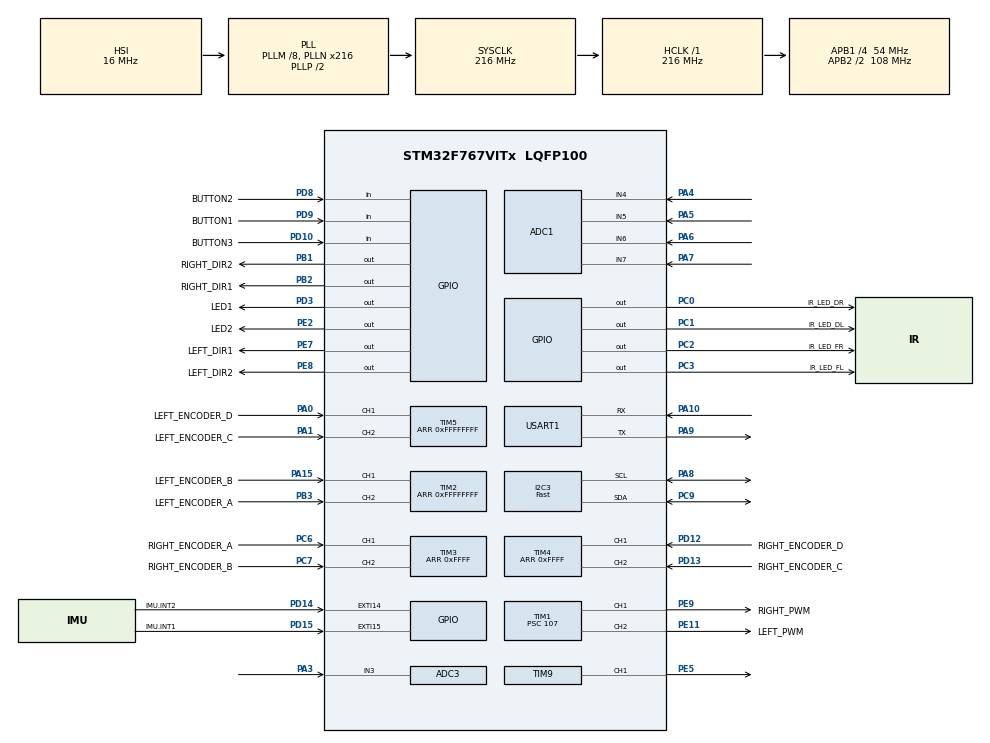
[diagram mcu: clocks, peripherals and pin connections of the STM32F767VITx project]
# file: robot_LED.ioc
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ADC1.Channel-0\#ChannelRegularConversion=ADC_CHANNEL_4
ADC1.NbrOfConversion=1
ADC1.NbrOfConversionFlag=1
ADC1.Rank-0\#ChannelRegularConversion=1
ADC1.SamplingTime-0\#ChannelRegularConversion=ADC_SAMPLETIME_480CYCLES
ADC1.ScanConvMode=DISABLE
ADC1.master=1
ADC3.Channel-0\#ChannelRegularConversion=ADC_CHANNEL_3
ADC3.Channel-1\#ChannelRegularConversion=ADC_CHANNEL_3
ADC3.ContinuousConvMode=ENABLE
ADC3.DMAContinuousRequests=ENABLE
ADC3.InjNumberOfConversion=0
ADC3.NbrOfConversion=2
ADC3.NbrOfConversionFlag=1
ADC3.Rank-0\#ChannelRegularConversion=1
ADC3.Rank-1\#ChannelRegularConversion=2
ADC3.SamplingTime-0\#ChannelRegularConversion=ADC_SAMPLETIME_480CYCLES
ADC3.SamplingTime-1\#ChannelRegularConversion=ADC_SAMPLETIME_480CYCLES
ADC3.ScanConvMode=ENABLE
Dma.ADC3.2.Direction=DMA_PERIPH_TO_MEMORY
Dma.ADC3.2.FIFOMode=DMA_FIFOMODE_DISABLE
Dma.ADC3.2.Instance=DMA2_Stream0
Dma.ADC3.2.MemDataAlignment=DMA_MDATAALIGN_HALFWORD
Dma.ADC3.2.MemInc=DMA_MINC_ENABLE
Dma.ADC3.2.Mode=DMA_CIRCULAR
Dma.ADC3.2.PeriphDataAlignment=DMA_PDATAALIGN_HALFWORD
Dma.ADC3.2.PeriphInc=DMA_PINC_DISABLE
Dma.ADC3.2.Priority=DMA_PRIORITY_LOW
Dma.Request0=USART1_RX
Dma.Request1=USART1_TX
Dma.Request2=ADC3
Dma.USART1_RX.0.Direction=DMA_PERIPH_TO_MEMORY
Dma.USART1_RX.0.FIFOMode=DMA_FIFOMODE_DISABLE
Dma.USART1_RX.0.Instance=DMA2_Stream2
Dma.USART1_RX.0.MemDataAlignment=DMA_MDATAALIGN_BYTE
Dma.USART1_RX.0.MemInc=DMA_MINC_ENABLE
Dma.USART1_RX.0.Mode=DMA_NORMAL
Dma.USART1_RX.0.PeriphDataAlignment=DMA_PDATAALIGN_BYTE
Dma.USART1_RX.0.PeriphInc=DMA_PINC_DISABLE
Dma.USART1_RX.0.Priority=DMA_PRIORITY_LOW
Dma.USART1_TX.1.Direction=DMA_MEMORY_TO_PERIPH
Dma.USART1_TX.1.FIFOMode=DMA_FIFOMODE_DISABLE
Dma.USART1_TX.1.Instance=DMA2_Stream7
Dma.USART1_TX.1.MemDataAlignment=DMA_MDATAALIGN_BYTE
Dma.USART1_TX.1.MemInc=DMA_MINC_ENABLE
Dma.USART1_TX.1.Mode=DMA_NORMAL
Dma.USART1_TX.1.PeriphDataAlignment=DMA_PDATAALIGN_BYTE
Dma.USART1_TX.1.PeriphInc=DMA_PINC_DISABLE
Dma.USART1_TX.1.Priority=DMA_PRIORITY_LOW
I2C3.I2C_Speed_Mode=I2C_Fast
I2C3.Timing=0x6000030D
Mcu.Family=STM32F7
Mcu.Name=STM32F767VITx
Mcu.Package=LQFP100
NVIC.ADC_IRQn=true\:0\:0\:false\:false\:true\:true\:true
NVIC.DMA2_Stream0_IRQn=true\:0\:0\:false\:false\:true\:false\:true
NVIC.DMA2_Stream2_IRQn=true\:0\:0\:false\:false\:true\:false\:true
NVIC.DMA2_Stream7_IRQn=true\:0\:0\:false\:false\:true\:false\:true
NVIC.EXTI15_10_IRQn=true\:0\:0\:false\:false\:true\:true\:true
NVIC.PriorityGroup=NVIC_PRIORITYGROUP_4
NVIC.USART1_IRQn=true\:0\:0\:false\:false\:true\:true\:true
PA0/WKUP.GPIO_Label=LEFT_ENCODER_D
PA0/WKUP.Signal=S_TIM5_CH1
PA1.GPIO_Label=LEFT_ENCODER_C
PA1.Signal=S_TIM5_CH2
PA10.Mode=Asynchronous
PA10.Signal=USART1_RX
PA15.GPIO_Label=LEFT_ENCODER_B
PA15.Signal=S_TIM2_CH1_ETR
PA3.Signal=ADCx_IN3
PA4.Signal=ADCx_IN4
PA5.Signal=ADCx_IN5
PA6.Signal=ADCx_IN6
PA7.Signal=ADCx_IN7
PA8.Mode=I2C
PA8.Signal=I2C3_SCL
PA9.Mode=Asynchronous
PA9.Signal=USART1_TX
PB1.GPIO_Label=RIGHT_DIR2
PB1.Signal=GPIO_Output
PB2.GPIO_Label=RIGHT_DIR1
PB2.Signal=GPIO_Output
PB3.GPIO_Label=LEFT_ENCODER_A
PB3.Signal=S_TIM2_CH2
PC0.GPIO_Label=IR_LED_DR
PC0.Signal=GPIO_Output
PC1.GPIO_Label=IR_LED_DL
PC1.Signal=GPIO_Output
PC2.GPIO_Label=IR_LED_FR
PC2.Signal=GPIO_Output
PC3.GPIO_Label=IR_LED_FL
PC3.Signal=GPIO_Output
PC6.GPIO_Label=RIGHT_ENCODER_A
PC6.GPIO_PuPd=GPIO_NOPULL
PC6.Signal=S_TIM3_CH1
PC7.GPIO_Label=RIGHT_ENCODER_B
PC7.GPIO_PuPd=GPIO_NOPULL
PC7.Signal=S_TIM3_CH2
PC9.Mode=I2C
PC9.Signal=I2C3_SDA
PD10.GPIO_Label=BUTTON3
PD10.GPIO_PuPd=GPIO_PULLUP
PD10.Signal=GPIO_Input
PD12.GPIO_Label=RIGHT_ENCODER_D
PD12.Signal=S_TIM4_CH1
PD13.GPIO_Label=RIGHT_ENCODER_C
PD13.Signal=S_TIM4_CH2
PD14.GPIO_Label=IMU.INT2
PD14.Signal=GPXTI14
PD15.GPIO_Label=IMU.INT1
PD15.Signal=GPXTI15
PD3.GPIO_Label=LED1
PD3.GPIO_ModeDefaultOutputPP=GPIO_MODE_OUTPUT_OD
PD3.Signal=GPIO_Output
PD8.GPIO_Label=BUTTON2
PD8.GPIO_PuPd=GPIO_PULLUP
PD8.Signal=GPIO_Input
PD9.GPIO_Label=BUTTON1
PD9.GPIO_PuPd=GPIO_PULLUP
PD9.Signal=GPIO_Input
PE11.GPIO_Label=LEFT_PWM
PE11.Signal=S_TIM1_CH2
PE2.GPIO_Label=LED2
PE2.GPIO_ModeDefaultOutputPP=GPIO_MODE_OUTPUT_OD
PE2.Signal=GPIO_Output
PE5.Signal=S_TIM9_CH1
PE7.GPIO_Label=LEFT_DIR1
PE7.Signal=GPIO_Output
PE8.GPIO_Label=LEFT_DIR2
PE8.Signal=GPIO_Output
PE9.GPIO_Label=RIGHT_PWM
PE9.Signal=S_TIM1_CH1
ProjectManager.HeapSize=0x200
ProjectManager.StackSize=0x400
ProjectManager.TargetToolchain=TrueSTUDIO
RCC.AHBFreq_Value=216000000
RCC.APB1CLKDivider=RCC_HCLK_DIV4
RCC.APB1Freq_Value=54000000
RCC.APB1TimFreq_Value=108000000
RCC.APB2CLKDivider=RCC_HCLK_DIV2
RCC.APB2Freq_Value=108000000
RCC.APB2TimFreq_Value=216000000
RCC.CortexFreq_Value=216000000
RCC.HCLKFreq_Value=216000000
RCC.HSE_VALUE=25000000
RCC.HSI_VALUE=16000000
RCC.LSE_VALUE=32768
RCC.PLLM=8
RCC.PLLN=216
RCC.SYSCLKFreq_VALUE=216000000
RCC.SYSCLKSource=RCC_SYSCLKSOURCE_PLLCLK
RCC.USBFreq_Value=216000000
RCC.VCOOutputFreq_Value=432000000
SH.ADCx_IN3.0=ADC3_IN3,IN3
SH.ADCx_IN4.0=ADC1_IN4,IN4
SH.ADCx_IN5.0=ADC1_IN5,IN5
SH.ADCx_IN6.0=ADC1_IN6,IN6
SH.ADCx_IN7.0=ADC1_IN7,IN7
SH.S_TIM1_CH1.0=TIM1_CH1,PWM Generation1 CH1
SH.S_TIM1_CH2.0=TIM1_CH2,PWM Generation2 CH2
SH.S_TIM2_CH1_ETR.0=TIM2_CH1,Encoder_Interface
SH.S_TIM2_CH2.0=TIM2_CH2,Encoder_Interface
SH.S_TIM3_CH1.0=TIM3_CH1,Encoder_Interface
SH.S_TIM3_CH2.0=TIM3_CH2,Encoder_Interface
SH.S_TIM4_CH1.0=TIM4_CH1,Encoder_Interface
SH.S_TIM4_CH2.0=TIM4_CH2,Encoder_Interface
SH.S_TIM5_CH1.0=TIM5_CH1,Encoder_Interface
SH.S_TIM5_CH2.0=TIM5_CH2,Encoder_Interface
SH.S_TIM9_CH1.0=TIM9_CH1,PWM Generation1 CH1
STMicroelectronics.X-CUBE-AI.3.4.0.ArtificialOoIntelligenceJjXAaCUBEAaAI.cmp_version0=3.4.0
STMicroelectronics.X-CUBE-AI.3.4.0.ArtificialOoIntelligenceJjXAaCUBEAaAI.component0=Artificial Intelligence
STMicroelectronics.X-CUBE-AI.3.4.0.ArtificialOoIntelligenceJjXAaCUBEAaAI.description0=AI Core,Artificial Intelligence for STM32
STMicroelectronics.X-CUBE-AI.3.4.0.ArtificialOoIntelligenceJjXAaCUBEAaAI.diagnostic0=This component should operate correctly.
STMicroelectronics.X-CUBE-AI.3.4.0.ArtificialOoIntelligenceJjXAaCUBEAaAI.documentation0=readme.txt
STMicroelectronics.X-CUBE-AI.3.4.0.ArtificialOoIntelligenceJjXAaCUBEAaAI.group0=Core
STMicroelectronics.X-CUBE-AI.3.4.0.ArtificialOoIntelligenceJjXAaCUBEAaAI.paramName0=XAaCUBEAaAICcArtificialOoIntelligenceJjCore
STMicroelectronics.X-CUBE-AI.3.4.0.ArtificialOoIntelligenceJjXAaCUBEAaAI.sevirity0=none
STMicroelectronics.X-CUBE-AI.3.4.0.ArtificialOoIntelligenceJjXAaCUBEAaAI_bundle=X-CUBE-AI
STMicroelectronics.X-CUBE-AI.3.4.0.ArtificialOoIntelligenceJjXAaCUBEAaAI_class=ArtificialOoIntelligence
STMicroelectronics.X-CUBE-AI.3.4.0.ArtificialOoIntelligenceJjXAaCUBEAaAI_name=X-CUBE-AI
STMicroelectronics.X-CUBE-AI.3.4.0.ArtificialOoIntelligenceJjXAaCUBEAaAI_size=1
STMicroelectronics.X-CUBE-AI.3.4.0.ArtificialOoIntelligenceJjXAaCUBEAaAI_vendor=STMicroelectronics
STMicroelectronics.X-CUBE-AI.3.4.0.ArtificialOoIntelligenceJjXAaCUBEAaAI_version=3.4.0
STMicroelectronics.X-CUBE-AI.3.4.0.ModelActualCompression-1952f4a947a1ec1f8850b1214cc6820a9500fbdb74c614ae5f41f59e5da1608a=0.0
STMicroelectronics.X-CUBE-AI.3.4.0.ModelCompression-1952f4a947a1ec1f8850b1214cc6820a9500fbdb74c614ae5f41f59e5da1608a=0
STMicroelectronics.X-CUBE-AI.3.4.0.ModelFlashOccupation-1952f4a947a1ec1f8850b1214cc6820a9500fbdb74c614ae5f41f59e5da1608a=864
STMicroelectronics.X-CUBE-AI.3.4.0.ModelHashList=1952f4a947a1ec1f8850b1214cc6820a9500fbdb74c614ae5f41f59e5da1608a
STMicroelectronics.X-CUBE-AI.3.4.0.ModelKind-1952f4a947a1ec1f8850b1214cc6820a9500fbdb74c614ae5f41f59e5da1608a=KERAS
STMicroelectronics.X-CUBE-AI.3.4.0.ModelMacc-1952f4a947a1ec1f8850b1214cc6820a9500fbdb74c614ae5f41f59e5da1608a=288
STMicroelectronics.X-CUBE-AI.3.4.0.ModelName-1952f4a947a1ec1f8850b1214cc6820a9500fbdb74c614ae5f41f59e5da1608a=sensor_network
STMicroelectronics.X-CUBE-AI.3.4.0.ModelNameList=sensor_network
STMicroelectronics.X-CUBE-AI.3.4.0.ModelRamOccupation-1952f4a947a1ec1f8850b1214cc6820a9500fbdb74c614ae5f41f59e5da1608a=100
STMicroelectronics.X-CUBE-AI.3.4.0.ModelStructureFile-1952f4a947a1ec1f8850b1214cc6820a9500fbdb74c614ae5f41f59e5da1608a=C\:\\GitHub\\T6_WallSensorAI\\pyNN\\my_model.h5
STMicroelectronics.X-CUBE-AI.3.4.0.ModelType-1952f4a947a1ec1f8850b1214cc6820a9500fbdb74c614ae5f41f59e5da1608a=Saved model
STMicroelectronics.X-CUBE-AI.3.4.0.XAaCUBEAaAICcArtificialOoIntelligenceJjCore=true
STMicroelectronics.X-CUBE-AI.3.4.0_ArtificialOoIntelligenceJjApplication_RteComponentsize=0
STMicroelectronics.X-CUBE-AI.3.4.0_ArtificialOoIntelligenceJjXAaCUBEAaAI_RteComponentsize=0
STMicroelectronics.X-CUBE-AI.3.4.0_MwName0=X-CUBE-AI
STMicroelectronics.X-CUBE-AI.3.4.0_NumberOfMw=1
STMicroelectronics.X-CUBE-AI.3.4.0_description=Artificial Intelligence
STMicroelectronics.X-CUBE-AI.3.4.0_license=SLA0048.txt
STMicroelectronics.X-CUBE-AI.3.4.0_supportedCore=Cortex-M4;Cortex-M7;
TIM1.Channel-PWM\ Generation1\ CH1=TIM_CHANNEL_1
TIM1.Channel-PWM\ Generation2\ CH2=TIM_CHANNEL_2
TIM1.Period=100
TIM1.Prescaler=107
TIM10.Period=0xffff
TIM10.Prescaler=215
TIM2.EncoderMode=TIM_ENCODERMODE_TI12
TIM2.Period=0xFFFFFFFF
TIM3.EncoderMode=TIM_ENCODERMODE_TI12
TIM3.Period=0xFFFF
TIM4.EncoderMode=TIM_ENCODERMODE_TI12
TIM4.Period=0xFFFF
TIM5.EncoderMode=TIM_ENCODERMODE_TI12
TIM5.Period=0xFFFFFFFF
TIM9.Channel-PWM\ Generation1\ CH1=TIM_CHANNEL_1
TIM9.OCPolarity_1=TIM_OCPOLARITY_LOW
TIM9.Period=1000
TIM9.Prescaler=215
USART1.VirtualMode-Asynchronous=VM_ASYNC
VP_CRC_VS_CRC.Mode=CRC_Activate
VP_STMicroelectronics.X-CUBE-AI_VS_ArtificialOoIntelligenceJjXAaCUBEAaAI_3.4.0.Mode=ArtificialOoIntelligenceJjXAaCUBEAaAI
VP_TIM10_VS_ClockSourceINT.Mode=Enable_Timer
VP_TIM1_VS_ClockSourceINT.Mode=Internal
VP_TIM9_VS_ClockSourceINT.Mode=Internal
board=custom

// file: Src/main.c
/* USER CODE BEGIN Header */
/**
  ******************************************************************************
  * @file           : main.c
  * @brief          : Main program body
  ******************************************************************************
  ** This notice applies to any and all portions of this file
  * that are not between comment pairs USER CODE BEGIN and
  * USER CODE END. Other portions of this file, whether
  * inserted by the user or by software development tools
  * are owned by their respective copyright owners.
  *
  * COPYRIGHT(c) 2019 STMicroelectronics
  *
  * Redistribution and use in source and binary forms, with or without modification,
  * are permitted provided that the following conditions are met:
  *   1. Redistributions of source code must retain the above copyright notice,
  *      this list of conditions and the following disclaimer.
  *   2. Redistributions in binary form must reproduce the above copyright notice,
  *      this list of conditions and the following disclaimer in the documentation
  *      and/or other materials provided with the distribution.
  *   3. Neither the name of STMicroelectronics nor the names of its contributors
  *      may be used to endorse or promote products derived from this software
  *      without specific prior written permission.
  *
  * THIS SOFTWARE IS PROVIDED BY THE COPYRIGHT HOLDERS AND CONTRIBUTORS "AS IS"
  * AND ANY EXPRESS OR IMPLIED WARRANTIES, INCLUDING, BUT NOT LIMITED TO, THE
  * IMPLIED WARRANTIES OF MERCHANTABILITY AND FITNESS FOR A PARTICULAR PURPOSE ARE
  * DISCLAIMED. IN NO EVENT SHALL THE COPYRIGHT HOLDER OR CONTRIBUTORS BE LIABLE
  * FOR ANY DIRECT, INDIRECT, INCIDENTAL, SPECIAL, EXEMPLARY, OR CONSEQUENTIAL
  * DAMAGES (INCLUDING, BUT NOT LIMITED TO, PROCUREMENT OF SUBSTITUTE GOODS OR
  * SERVICES; LOSS OF USE, DATA, OR PROFITS; OR BUSINESS INTERRUPTION) HOWEVER
  * CAUSED AND ON ANY THEORY OF LIABILITY, WHETHER IN CONTRACT, STRICT LIABILITY,
  * OR TORT (INCLUDING NEGLIGENCE OR OTHERWISE) ARISING IN ANY WAY OUT OF THE USE
  * OF THIS SOFTWARE, EVEN IF ADVISED OF THE POSSIBILITY OF SUCH DAMAGE.
  *
  ******************************************************************************
  */
/* USER CODE END Header */

#include "main.h"
#include "app_x-cube-ai.h"

/* USER CODE BEGIN Includes */
#include "serial.h"
#include "controller.h"
#include "datalogger.h"
#include "battery.h"
#include "timer_us.h"
#include "imu.h"
#include "timer_us.h"
#include "configuration.h"
#include "robot_math.h"
#include "WallSensor.h"
#include "imu.h"
#include "motor.h"
#include "encoder.h"

#include "ann.h"
#include "weights.h"

/* USER CODE END Includes */

ADC_HandleTypeDef hadc1;
ADC_HandleTypeDef hadc3;
DMA_HandleTypeDef hdma_adc3;

CRC_HandleTypeDef hcrc;

I2C_HandleTypeDef hi2c3;

TIM_HandleTypeDef htim1;
TIM_HandleTypeDef htim2;
TIM_HandleTypeDef htim3;
TIM_HandleTypeDef htim4;
TIM_HandleTypeDef htim5;
TIM_HandleTypeDef htim9;
TIM_HandleTypeDef htim10;

UART_HandleTypeDef huart1;
DMA_HandleTypeDef hdma_usart1_rx;
DMA_HandleTypeDef hdma_usart1_tx;

/* USER CODE BEGIN PV */
/* Private variables ---------------------------------------------------------*/
HAL_Serial_Handler com;
ai_handle sensor_ann = AI_HANDLE_NULL;

/* USER CODE END PV */

void SystemClock_Config(void);
static void MX_GPIO_Init(void);
static void MX_DMA_Init(void);
static void MX_TIM1_Init(void);
static void MX_TIM4_Init(void);
static void MX_TIM3_Init(void);
static void MX_TIM2_Init(void);
static void MX_TIM5_Init(void);
static void MX_ADC1_Init(void);
static void MX_USART1_UART_Init(void);
static void MX_TIM9_Init(void);
static void MX_ADC3_Init(void);
static void MX_I2C3_Init(void);
static void MX_TIM10_Init(void);
static void MX_CRC_Init(void);
/* USER CODE BEGIN PFP */
/* Private function prototypes -----------------------------------------------*/

/* USER CODE END PFP */

int main(void)
{

  /* MCU Configuration--------------------------------------------------------*/

  /* Reset of all peripherals, Initializes the Flash interface and the Systick. */
  HAL_Init();

  /* Configure the system clock */
  SystemClock_Config();

  /* Initialize all configured peripherals */
  MX_GPIO_Init();
  MX_DMA_Init();
  MX_TIM1_Init();
  MX_TIM4_Init();
  MX_TIM3_Init();
  MX_TIM2_Init();
  MX_TIM5_Init();
  MX_ADC1_Init();
  MX_USART1_UART_Init();
  MX_TIM9_Init();
  MX_ADC3_Init();
  MX_I2C3_Init();
  MX_TIM10_Init();
  MX_CRC_Init();
  MX_X_CUBE_AI_Init();
  /* USER CODE BEGIN 2 */

	// turn OFF LEDs
	HAL_GPIO_WritePin(IR_LED_FL_GPIO_Port,IR_LED_FL_Pin,GPIO_PIN_RESET); // LED IR FRONT LEFT OFF
	HAL_GPIO_WritePin(IR_LED_FR_GPIO_Port,IR_LED_FR_Pin,GPIO_PIN_RESET); // LED IR FRONT RIGHT OFF
	HAL_GPIO_WritePin(IR_LED_DL_GPIO_Port,IR_LED_DL_Pin,GPIO_PIN_RESET); // LED IR DIAGONAL LEFT OFF
	HAL_GPIO_WritePin(IR_LED_DR_GPIO_Port,IR_LED_DR_Pin,GPIO_PIN_RESET); // LED IR DIAGONAL RIGHT OFF
	HAL_GPIO_WritePin(LED1_GPIO_Port,LED1_Pin,GPIO_PIN_RESET); // LED RIGHT ON
	HAL_GPIO_WritePin(LED2_GPIO_Port,LED2_Pin,GPIO_PIN_RESET); // LED LEFT ON

	HAL_Battery_Init();

	HAL_Serial_Init(&huart1, &com);
	HAL_Serial_Print(&com,"Hello World (v%d.%d.%d)\r\n",0,0,0);

	// init
	//configuration_init();
	//configuration_load();
	timer_us_init();
	uint32_t controller_init_result = controller_init();

	ai_error err = ai_mnetwork_create("sensor_network",&sensor_ann,NULL);
	if(err.type != AI_ERROR_NONE)
	{
		HAL_Serial_Print(&com,"AI ERROR %d %d\r\n",err.type,err.code);
	}
	else
	{
		HAL_Serial_Print(&com,"ai_mnetwork_create(sensor_network) [PASS]\r\n",err.type,err.code);
	}
	AI_ALIGNED(4)
	static ai_u8 activations[AI_SENSOR_NETWORK_DATA_ACTIVATIONS_SIZE];
	const ai_network_params params = {
			AI_SENSOR_NETWORK_DATA_WEIGHTS(ai_sensor_network_data_weights_get()),
			AI_SENSOR_NETWORK_DATA_ACTIVATIONS(activations)
	};
	if(!ai_mnetwork_init(sensor_ann,&params))
	{
		err = ai_mnetwork_get_error(&sensor_ann);
		HAL_Serial_Print(&com,"AI ERRPR %d %d\r\n",err.type,err.code);
	}
	else
	{
		HAL_Serial_Print(&com,"ai_mnetwork_init(sensor_network) [PASS]\r\n",err.type,err.code);
	}
  /* USER CODE END 2 */

  /* Infinite loop */
  /* USER CODE BEGIN WHILE */
  enum state {IDLE, WARMUP, RUNNING, FINISH, UPLOAD, FAILSAFE, CALIBRATION};
  enum state current_state = IDLE;
  uint32_t tim_start = 0;
  HAL_Delay(1000);
  while (1)
  {
    /* USER CODE END WHILE */

  MX_X_CUBE_AI_Process();
    /* USER CODE BEGIN 3 */

	  switch(current_state)
	  {
	  case IDLE :
	  {
		motor_speed_left(0);
		motor_speed_right(0);

		gyro_auto_calibrate();
		if(gyro_is_calibrated())
		{
			HAL_GPIO_WritePin(LED1_GPIO_Port,LED1_Pin,GPIO_PIN_SET); // LED RIGHT Off
			HAL_GPIO_WritePin(LED2_GPIO_Port,LED2_Pin,GPIO_PIN_SET); // LED LEFT Off
		}
		else
		{
			HAL_GPIO_WritePin(LED1_GPIO_Port,LED1_Pin,GPIO_PIN_RESET); // LED RIGHT ON
			HAL_GPIO_WritePin(LED2_GPIO_Port,LED2_Pin,GPIO_PIN_RESET); // LED LEFT ON
		}
#ifdef TIMER_US_TRACE
		  HAL_Serial_Print(&com,"time:%dus\r\n",timer_us_get());
		  HAL_Delay(10);
#endif
#ifdef VOLTAGE_TRACE
		  HAL_Serial_Print(&com,"voltage=%d mV\r\n",(int)(HAL_Battery_Get(0)*1000.0f));
		  HAL_Delay(1000);
#endif
#ifdef ENCODER_TRACE
	{
		static uint32_t time = 0;
		if( HAL_GetTick() >= time + 500)
		{
			encoder_update();
			time = HAL_GetTick(); // update time
			HAL_Serial_Print(&com,"%d\r\n",
					(int32_t)(encoder_get_absolute()*1000.0)
				);
			HAL_Delay(10);
		}
	}
#endif
#ifdef RAW_IR_TRACE
	{
		static uint32_t time = 0;
		if( HAL_GetTick() >= time + 200)
		{
			time = HAL_GetTick(); // update time
			wall_sensor_update();
			HAL_Serial_Print(&com,"%d %d %d %d\r\n",
				  wall_sensor_get_raw(WALL_SENSOR_LEFT_DIAG),
				  wall_sensor_get_raw(WALL_SENSOR_LEFT_STRAIGHT),
				  wall_sensor_get_raw(WALL_SENSOR_RIGHT_STRAIGHT),
				  wall_sensor_get_raw(WALL_SENSOR_RIGHT_DIAG)
				  );
			HAL_Delay(10);
			/// TEST ANN HERE : TO BE DELETED
			/// TEST ANN HERE : TO BE DELETED
			/// TEST ANN HERE : TO BE DELETED
			uint16_t start_us = timer_us_get();
//			double inputs[4] = {
//					wall_sensor_get_raw(WALL_SENSOR_LEFT_DIAG),
//					wall_sensor_get_raw(WALL_SENSOR_LEFT_STRAIGHT),
//					 wall_sensor_get_raw(WALL_SENSOR_RIGHT_STRAIGHT),
//					 wall_sensor_get_raw(WALL_SENSOR_RIGHT_DIAG)
//			};
//			double outputs[8];
//			ann_forward_propagation(outputs,inputs,weights);
			ai_float inputs[AI_SENSOR_NETWORK_IN_1_SIZE] = {
										wall_sensor_get_raw(WALL_SENSOR_LEFT_DIAG)/4096.0,
										wall_sensor_get_raw(WALL_SENSOR_LEFT_STRAIGHT)/4096.0,
										 wall_sensor_get_raw(WALL_SENSOR_RIGHT_STRAIGHT)/4096.0,
										 wall_sensor_get_raw(WALL_SENSOR_RIGHT_DIAG)/4096.0
								};
			ai_float outputs[AI_SENSOR_NETWORK_OUT_1_SIZE];
			static ai_buffer ai_input[AI_SENSOR_NETWORK_IN_NUM] = { AI_SENSOR_NETWORK_IN_1 };
			static ai_buffer ai_output[AI_SENSOR_NETWORK_OUT_NUM] = { AI_SENSOR_NETWORK_OUT_1 };
			ai_input[0].n_batches = 1;
			ai_output[0].n_batches = 1;
			ai_input[0].data = AI_HANDLE_PTR(inputs);
			ai_output[0].data = AI_HANDLE_PTR(outputs);
			ai_i32 nbatch = ai_mnetwork_run(sensor_ann, ai_input, ai_output);
			uint16_t end_us = timer_us_get();
			uint16_t diff_us = end_us-start_us;
//			char * const class_name[8] = {
//			    "NONE",
//			    "LW",
//			    "FW",
//			    "RW",
//			    "FW+RW",
//			    "FW+LW",
//			    "LW+RW",
//			    "ALL"
//			};
			HAL_Serial_Print(&com,"    NoW:%d%%  LW:%d%%  FW:%d%%  RW:%d%%  FW+RW:%d%%  FW+LW:%d%%  RW+LW:%d%%  AllW:%d%% in %d us (batch:%d)\r\n",
					(int32_t)(outputs[0]*100.0),
					(int32_t)(outputs[1]*100.0),
					(int32_t)(outputs[2]*100.0),
					(int32_t)(outputs[3]*100.0),
					(int32_t)(outputs[4]*100.0),
					(int32_t)(outputs[5]*100.0),
					(int32_t)(outputs[6]*100.0),
					(int32_t)(outputs[7]*100.0),
					(int32_t)diff_us,
					(int32_t)nbatch
				  );

			/// TEST ANN HERE : TO BE DELETED
			/// TEST ANN HERE : TO BE DELETED
			/// TEST ANN HERE : TO BE DELETED

			HAL_Delay(10);
		}

	}
#endif
#ifdef CALIBRATED_IR_TRACE
		  {
			  static uint32_t time = 0;
			  if( HAL_GetTick() >= time + 200) // every 0.1 sec
			  {
				  time = HAL_GetTick(); // update time
				  wall_sensor_update();
				  HAL_Serial_Print(&com,"%d %d %d %d    %d %d %d\r\n",
						  (int)wall_sensor_get_dist(WALL_SENSOR_LEFT_DIAG),
						  (int)wall_sensor_get_dist(WALL_SENSOR_LEFT_STRAIGHT),
						  (int)wall_sensor_get_dist(WALL_SENSOR_RIGHT_STRAIGHT),
						  (int)wall_sensor_get_dist(WALL_SENSOR_RIGHT_DIAG),
						  (int)wall_sensor_is_left_wall_detected(),
						  (int)wall_sensor_is_front_wall_detected(),
						  (int)wall_sensor_is_right_wall_detected()
						  );
				  HAL_Delay(10);
			  }

		  }
#endif
#ifdef WALL_FOLLOWING_TRACE
		  {
			  static uint32_t time = 0;
			  if( HAL_GetTick() >= time + 500) // every 0.1 sec
			  {
				  time = HAL_GetTick(); // update time
				  wall_sensor_update();
				HAL_Serial_Print(&com,"%d\r\n",	  (int)wall_sensor_get_side_error());
			  }
		  }
#endif

#ifdef READ_SERIAL_LINK
		  // decode CLI
		  while(HAL_Serial_Available(&com)>0)
		  {
			  configuration_parse_cli(HAL_Serial_GetChar(&com));
		  }
#endif // READ_SERIAL_LINK

		  if(controller_init_result != 0) // check controller::gyro
		  {
			  HAL_GPIO_WritePin(LED1_GPIO_Port,LED1_Pin,GPIO_PIN_RESET); // droite ON
			  HAL_GPIO_WritePin(LED2_GPIO_Port,LED2_Pin,GPIO_PIN_RESET); // gauche ON

			  HAL_Serial_Print(&com,"IDLE->FAILSAFE, gyro error\r\n");

			  current_state = FAILSAFE;
		  }
		  else if(HAL_Battery_Is_Low(VBATT)) // check battery charge
		  {
			  HAL_GPIO_WritePin(LED1_GPIO_Port,LED1_Pin,GPIO_PIN_RESET); // droite On
			  HAL_GPIO_WritePin(LED2_GPIO_Port,LED2_Pin,GPIO_PIN_RESET); // gauche On

			  HAL_Serial_Print(&com,"IDLE->FAILSAFE, low battery\r\n");

			  current_state = FAILSAFE;
		  }
		  else if(HAL_GPIO_ReadPin(BUTTON3_GPIO_Port,BUTTON3_Pin)==GPIO_PIN_RESET && gyro_is_calibrated()) // run rigth
		  {
			  HAL_GPIO_WritePin(LED1_GPIO_Port,LED1_Pin,GPIO_PIN_RESET); // droite ON
			  HAL_GPIO_WritePin(LED2_GPIO_Port,LED2_Pin,GPIO_PIN_RESET); // gauche ON

			  HAL_Serial_Print(&com,"IDLE->WARMUP [algo set to right hand]\r\n");
			  maze_ctx_set_alfo_to_right_hand();

			  current_state = WARMUP;
			  tim_start=HAL_GetTick();
		  }
		  else if(HAL_GPIO_ReadPin(BUTTON2_GPIO_Port,BUTTON2_Pin)==GPIO_PIN_RESET) // upload data logger
		  {
			  HAL_GPIO_WritePin(LED1_GPIO_Port,LED1_Pin,GPIO_PIN_RESET); // droite ON
			  HAL_GPIO_WritePin(LED2_GPIO_Port,LED2_Pin,GPIO_PIN_RESET); // gauche ON

			  HAL_Serial_Print(&com,"IDLE->UPLOAD\r\n");
			  current_state = UPLOAD;
		  }
		  else if (HAL_GPIO_ReadPin(BUTTON1_GPIO_Port,BUTTON1_Pin)==GPIO_PIN_RESET && gyro_is_calibrated()) // run left
		  {
			  HAL_GPIO_WritePin(LED1_GPIO_Port,LED1_Pin,GPIO_PIN_RESET); // droite ON
			  HAL_GPIO_WritePin(LED2_GPIO_Port,LED2_Pin,GPIO_PIN_RESET); // gauche ON

			  HAL_Serial_Print(&com,"IDLE->WARMUP [algo set to left hand]\r\n");
			  maze_ctx_set_alfo_to_left_hand();

			  current_state = WARMUP;
			  tim_start=HAL_GetTick();
		  }
	  }
	  break;

	  case WARMUP :
	  {
			motor_speed_left(0);
			motor_speed_right(0);

		  // wait for 1.0s before running
		  if (tim_start + 1000 < HAL_GetTick() )
		  {

			  if(HAL_GPIO_ReadPin(BUTTON3_GPIO_Port,BUTTON3_Pin)==GPIO_PIN_RESET || HAL_GPIO_ReadPin(BUTTON1_GPIO_Port,BUTTON1_Pin)==GPIO_PIN_RESET) // reset/init
			  {
				  controller_init();
				  current_state = IDLE;
				  HAL_Serial_Print(&com,"->RESET....\r\n");

				  HAL_GPIO_WritePin(LED1_GPIO_Port,LED1_Pin,GPIO_PIN_SET); // droite OFF
				  HAL_GPIO_WritePin(LED2_GPIO_Port,LED2_Pin,GPIO_PIN_SET); // gauche OFF
				  HAL_Delay(500);
				  HAL_GPIO_WritePin(LED1_GPIO_Port,LED1_Pin,GPIO_PIN_RESET); // droite ON
				  HAL_GPIO_WritePin(LED2_GPIO_Port,LED2_Pin,GPIO_PIN_RESET); // gauche ON
				  HAL_Delay(500);
				  HAL_GPIO_WritePin(LED1_GPIO_Port,LED1_Pin,GPIO_PIN_SET); // droite OFF
				  HAL_GPIO_WritePin(LED2_GPIO_Port,LED2_Pin,GPIO_PIN_SET); // gauche OFF
				  HAL_Delay(500);
				  HAL_GPIO_WritePin(LED1_GPIO_Port,LED1_Pin,GPIO_PIN_RESET); // droite ON
				  HAL_GPIO_WritePin(LED2_GPIO_Port,LED2_Pin,GPIO_PIN_RESET); // gauche ON
				  HAL_Delay(500);
				  HAL_GPIO_WritePin(LED1_GPIO_Port,LED1_Pin,GPIO_PIN_SET); // droite OFF
				  HAL_GPIO_WritePin(LED2_GPIO_Port,LED2_Pin,GPIO_PIN_SET); // gauche OFF
				  HAL_Delay(500);
				  HAL_Serial_Print(&com,"->IDLE\r\n");

			  }
			  else
			  {
				  current_state = RUNNING;
				  HAL_Serial_Print(&com,"WARMUP->RUNNING\r\n");
				  controller_start();
			  }
			  HAL_GPIO_WritePin(LED1_GPIO_Port,LED1_Pin,GPIO_PIN_SET); // droite OFF
			  HAL_GPIO_WritePin(LED2_GPIO_Port,LED2_Pin,GPIO_PIN_SET); // gauche OFF
		  }

	  }
	  break;

	  case RUNNING :
	  {
		  controller_update();

		  if(controller_is_end()){
				motor_speed_left(0);
				motor_speed_right(0);
			  current_state = FINISH;
			  HAL_Serial_Print(&com,"RUNNING->FINISH\r\n");
		  }
		  else if(HAL_GPIO_ReadPin(BUTTON3_GPIO_Port,BUTTON3_Pin)==GPIO_PIN_RESET)
		  {
			  controller_stop();

			  current_state = FINISH;
			  HAL_Serial_Print(&com,"RUNNING->FINISH (emergency stop)\r\n");
		  }
	  }
	  break;

	  case FINISH :
	  {
			motor_speed_left(0);
			motor_speed_right(0);

		  HAL_Delay(1000);

		  current_state = IDLE;
		  HAL_Serial_Print(&com,"FINISH->IDLE\r\n");
	  }
	  break;

	  case UPLOAD :
	  {
			motor_speed_left(0);
			motor_speed_right(0);

		  HAL_DataLogger_Send();

		  current_state = IDLE;

		  HAL_GPIO_WritePin(LED1_GPIO_Port,LED1_Pin,GPIO_PIN_SET); // droite Off
		  HAL_GPIO_WritePin(LED2_GPIO_Port,LED2_Pin,GPIO_PIN_SET); // gauche Off

		  HAL_Serial_Print(&com,"UPLOAD->IDLE\r\n");
	  }
	  break;

	  case CALIBRATION :
	  {
			motor_speed_left(0);
			motor_speed_right(0);

		  HAL_Delay(2000); // wait for button release

		  //gyro_calibrate();
		  current_state = IDLE;

		  HAL_GPIO_WritePin(LED1_GPIO_Port,LED1_Pin,GPIO_PIN_SET); // droite Off
		  HAL_GPIO_WritePin(LED2_GPIO_Port,LED2_Pin,GPIO_PIN_SET); // gauche Off

		  HAL_Serial_Print(&com,"CALIBRATION->IDLE\r\n");
	  }
	  break;

	  case FAILSAFE :
	  {
		  // nop
	  }
	  break;

	  }
  }

  /* USER CODE END 3 */
}

void SystemClock_Config(void)
{
  RCC_OscInitTypeDef RCC_OscInitStruct = {0};
  RCC_ClkInitTypeDef RCC_ClkInitStruct = {0};
  RCC_PeriphCLKInitTypeDef PeriphClkInitStruct = {0};

  /** Configure the main internal regulator output voltage
  */
  __HAL_RCC_PWR_CLK_ENABLE();
  __HAL_PWR_VOLTAGESCALING_CONFIG(PWR_REGULATOR_VOLTAGE_SCALE1);
  /** Initializes the CPU, AHB and APB busses clocks
  */
  RCC_OscInitStruct.OscillatorType = RCC_OSCILLATORTYPE_HSI;
  RCC_OscInitStruct.HSIState = RCC_HSI_ON;
  RCC_OscInitStruct.HSICalibrationValue = RCC_HSICALIBRATION_DEFAULT;
  RCC_OscInitStruct.PLL.PLLState = RCC_PLL_ON;
  RCC_OscInitStruct.PLL.PLLSource = RCC_PLLSOURCE_HSI;
  RCC_OscInitStruct.PLL.PLLM = 8;
  RCC_OscInitStruct.PLL.PLLN = 216;
  RCC_OscInitStruct.PLL.PLLP = RCC_PLLP_DIV2;
  RCC_OscInitStruct.PLL.PLLQ = 2;
  if (HAL_RCC_OscConfig(&RCC_OscInitStruct) != HAL_OK)
  {
    Error_Handler();
  }
  /** Activate the Over-Drive mode
  */
  if (HAL_PWREx_EnableOverDrive() != HAL_OK)
  {
    Error_Handler();
  }
  /** Initializes the CPU, AHB and APB busses clocks
  */
  RCC_ClkInitStruct.ClockType = RCC_CLOCKTYPE_HCLK|RCC_CLOCKTYPE_SYSCLK
                              |RCC_CLOCKTYPE_PCLK1|RCC_CLOCKTYPE_PCLK2;
  RCC_ClkInitStruct.SYSCLKSource = RCC_SYSCLKSOURCE_PLLCLK;
  RCC_ClkInitStruct.AHBCLKDivider = RCC_SYSCLK_DIV1;
  RCC_ClkInitStruct.APB1CLKDivider = RCC_HCLK_DIV4;
  RCC_ClkInitStruct.APB2CLKDivider = RCC_HCLK_DIV2;

  if (HAL_RCC_ClockConfig(&RCC_ClkInitStruct, FLASH_LATENCY_7) != HAL_OK)
  {
    Error_Handler();
  }
  PeriphClkInitStruct.PeriphClockSelection = RCC_PERIPHCLK_USART1|RCC_PERIPHCLK_I2C3;
  PeriphClkInitStruct.Usart1ClockSelection = RCC_USART1CLKSOURCE_PCLK2;
  PeriphClkInitStruct.I2c3ClockSelection = RCC_I2C3CLKSOURCE_PCLK1;
  if (HAL_RCCEx_PeriphCLKConfig(&PeriphClkInitStruct) != HAL_OK)
  {
    Error_Handler();
  }
}

static void MX_ADC1_Init(void)
{

  ADC_ChannelConfTypeDef sConfig = {0};

  /** Configure the global features of the ADC (Clock, Resolution, Data Alignment and number of conversion)
  */
  hadc1.Instance = ADC1;
  hadc1.Init.ClockPrescaler = ADC_CLOCK_SYNC_PCLK_DIV4;
  hadc1.Init.Resolution = ADC_RESOLUTION_12B;
  hadc1.Init.ScanConvMode = DISABLE;
  hadc1.Init.ContinuousConvMode = DISABLE;
  hadc1.Init.DiscontinuousConvMode = DISABLE;
  hadc1.Init.ExternalTrigConvEdge = ADC_EXTERNALTRIGCONVEDGE_NONE;
  hadc1.Init.ExternalTrigConv = ADC_SOFTWARE_START;
  hadc1.Init.DataAlign = ADC_DATAALIGN_RIGHT;
  hadc1.Init.NbrOfConversion = 1;
  hadc1.Init.DMAContinuousRequests = DISABLE;
  hadc1.Init.EOCSelection = ADC_EOC_SINGLE_CONV;
  if (HAL_ADC_Init(&hadc1) != HAL_OK)
  {
    Error_Handler();
  }
  /** Configure for the selected ADC regular channel its corresponding rank in the sequencer and its sample time.
  */
  sConfig.Channel = ADC_CHANNEL_4;
  sConfig.Rank = ADC_REGULAR_RANK_1;
  sConfig.SamplingTime = ADC_SAMPLETIME_480CYCLES;
  if (HAL_ADC_ConfigChannel(&hadc1, &sConfig) != HAL_OK)
  {
    Error_Handler();
  }

}

static void MX_ADC3_Init(void)
{

  ADC_ChannelConfTypeDef sConfig = {0};

  /** Configure the global features of the ADC (Clock, Resolution, Data Alignment and number of conversion)
  */
  hadc3.Instance = ADC3;
  hadc3.Init.ClockPrescaler = ADC_CLOCK_SYNC_PCLK_DIV4;
  hadc3.Init.Resolution = ADC_RESOLUTION_12B;
  hadc3.Init.ScanConvMode = ENABLE;
  hadc3.Init.ContinuousConvMode = ENABLE;
  hadc3.Init.DiscontinuousConvMode = DISABLE;
  hadc3.Init.ExternalTrigConvEdge = ADC_EXTERNALTRIGCONVEDGE_NONE;
  hadc3.Init.ExternalTrigConv = ADC_SOFTWARE_START;
  hadc3.Init.DataAlign = ADC_DATAALIGN_RIGHT;
  hadc3.Init.NbrOfConversion = 2;
  hadc3.Init.DMAContinuousRequests = ENABLE;
  hadc3.Init.EOCSelection = ADC_EOC_SINGLE_CONV;
  if (HAL_ADC_Init(&hadc3) != HAL_OK)
  {
    Error_Handler();
  }
  /** Configure for the selected ADC regular channel its corresponding rank in the sequencer and its sample time.
  */
  sConfig.Channel = ADC_CHANNEL_3;
  sConfig.Rank = ADC_REGULAR_RANK_1;
  sConfig.SamplingTime = ADC_SAMPLETIME_480CYCLES;
  if (HAL_ADC_ConfigChannel(&hadc3, &sConfig) != HAL_OK)
  {
    Error_Handler();
  }
  /** Configure for the selected ADC regular channel its corresponding rank in the sequencer and its sample time.
  */
  sConfig.Rank = ADC_REGULAR_RANK_2;
  if (HAL_ADC_ConfigChannel(&hadc3, &sConfig) != HAL_OK)
  {
    Error_Handler();
  }

}

static void MX_CRC_Init(void)
{

  hcrc.Instance = CRC;
  hcrc.Init.DefaultPolynomialUse = DEFAULT_POLYNOMIAL_ENABLE;
  hcrc.Init.DefaultInitValueUse = DEFAULT_INIT_VALUE_ENABLE;
  hcrc.Init.InputDataInversionMode = CRC_INPUTDATA_INVERSION_NONE;
  hcrc.Init.OutputDataInversionMode = CRC_OUTPUTDATA_INVERSION_DISABLE;
  hcrc.InputDataFormat = CRC_INPUTDATA_FORMAT_BYTES;
  if (HAL_CRC_Init(&hcrc) != HAL_OK)
  {
    Error_Handler();
  }

}

static void MX_I2C3_Init(void)
{

  hi2c3.Instance = I2C3;
  hi2c3.Init.Timing = 0x6000030D;
  hi2c3.Init.OwnAddress1 = 0;
  hi2c3.Init.AddressingMode = I2C_ADDRESSINGMODE_7BIT;
  hi2c3.Init.DualAddressMode = I2C_DUALADDRESS_DISABLE;
  hi2c3.Init.OwnAddress2 = 0;
  hi2c3.Init.OwnAddress2Masks = I2C_OA2_NOMASK;
  hi2c3.Init.GeneralCallMode = I2C_GENERALCALL_DISABLE;
  hi2c3.Init.NoStretchMode = I2C_NOSTRETCH_DISABLE;
  if (HAL_I2C_Init(&hi2c3) != HAL_OK)
  {
    Error_Handler();
  }
  /** Configure Analogue filter
  */
  if (HAL_I2CEx_ConfigAnalogFilter(&hi2c3, I2C_ANALOGFILTER_ENABLE) != HAL_OK)
  {
    Error_Handler();
  }
  /** Configure Digital filter
  */
  if (HAL_I2CEx_ConfigDigitalFilter(&hi2c3, 0) != HAL_OK)
  {
    Error_Handler();
  }

}

static void MX_TIM1_Init(void)
{

  TIM_ClockConfigTypeDef sClockSourceConfig = {0};
  TIM_MasterConfigTypeDef sMasterConfig = {0};
  TIM_OC_InitTypeDef sConfigOC = {0};
  TIM_BreakDeadTimeConfigTypeDef sBreakDeadTimeConfig = {0};

  htim1.Instance = TIM1;
  htim1.Init.Prescaler = 107;
  htim1.Init.CounterMode = TIM_COUNTERMODE_UP;
  htim1.Init.Period = 100;
  htim1.Init.ClockDivision = TIM_CLOCKDIVISION_DIV1;
  htim1.Init.RepetitionCounter = 0;
  htim1.Init.AutoReloadPreload = TIM_AUTORELOAD_PRELOAD_DISABLE;
  if (HAL_TIM_Base_Init(&htim1) != HAL_OK)
  {
    Error_Handler();
  }
  sClockSourceConfig.ClockSource = TIM_CLOCKSOURCE_INTERNAL;
  if (HAL_TIM_ConfigClockSource(&htim1, &sClockSourceConfig) != HAL_OK)
  {
    Error_Handler();
  }
  if (HAL_TIM_PWM_Init(&htim1) != HAL_OK)
  {
    Error_Handler();
  }
  sMasterConfig.MasterOutputTrigger = TIM_TRGO_RESET;
  sMasterConfig.MasterOutputTrigger2 = TIM_TRGO2_RESET;
  sMasterConfig.MasterSlaveMode = TIM_MASTERSLAVEMODE_DISABLE;
  if (HAL_TIMEx_MasterConfigSynchronization(&htim1, &sMasterConfig) != HAL_OK)
  {
    Error_Handler();
  }
  sConfigOC.OCMode = TIM_OCMODE_PWM1;
  sConfigOC.Pulse = 0;
  sConfigOC.OCPolarity = TIM_OCPOLARITY_HIGH;
  sConfigOC.OCNPolarity = TIM_OCNPOLARITY_HIGH;
  sConfigOC.OCFastMode = TIM_OCFAST_DISABLE;
  sConfigOC.OCIdleState = TIM_OCIDLESTATE_RESET;
  sConfigOC.OCNIdleState = TIM_OCNIDLESTATE_RESET;
  if (HAL_TIM_PWM_ConfigChannel(&htim1, &sConfigOC, TIM_CHANNEL_1) != HAL_OK)
  {
    Error_Handler();
  }
  if (HAL_TIM_PWM_ConfigChannel(&htim1, &sConfigOC, TIM_CHANNEL_2) != HAL_OK)
  {
    Error_Handler();
  }
  sBreakDeadTimeConfig.OffStateRunMode = TIM_OSSR_DISABLE;
  sBreakDeadTimeConfig.OffStateIDLEMode = TIM_OSSI_DISABLE;
  sBreakDeadTimeConfig.LockLevel = TIM_LOCKLEVEL_OFF;
  sBreakDeadTimeConfig.DeadTime = 0;
  sBreakDeadTimeConfig.BreakState = TIM_BREAK_DISABLE;
  sBreakDeadTimeConfig.BreakPolarity = TIM_BREAKPOLARITY_HIGH;
  sBreakDeadTimeConfig.BreakFilter = 0;
  sBreakDeadTimeConfig.Break2State = TIM_BREAK2_DISABLE;
  sBreakDeadTimeConfig.Break2Polarity = TIM_BREAK2POLARITY_HIGH;
  sBreakDeadTimeConfig.Break2Filter = 0;
  sBreakDeadTimeConfig.AutomaticOutput = TIM_AUTOMATICOUTPUT_DISABLE;
  if (HAL_TIMEx_ConfigBreakDeadTime(&htim1, &sBreakDeadTimeConfig) != HAL_OK)
  {
    Error_Handler();
  }
  HAL_TIM_MspPostInit(&htim1);

}

static void MX_TIM2_Init(void)
{

  TIM_Encoder_InitTypeDef sConfig = {0};
  TIM_MasterConfigTypeDef sMasterConfig = {0};

  htim2.Instance = TIM2;
  htim2.Init.Prescaler = 0;
  htim2.Init.CounterMode = TIM_COUNTERMODE_UP;
  htim2.Init.Period = 0xFFFFFFFF;
  htim2.Init.ClockDivision = TIM_CLOCKDIVISION_DIV1;
  htim2.Init.AutoReloadPreload = TIM_AUTORELOAD_PRELOAD_DISABLE;
  sConfig.EncoderMode = TIM_ENCODERMODE_TI12;
  sConfig.IC1Polarity = TIM_ICPOLARITY_RISING;
  sConfig.IC1Selection = TIM_ICSELECTION_DIRECTTI;
  sConfig.IC1Prescaler = TIM_ICPSC_DIV1;
  sConfig.IC1Filter = 0;
  sConfig.IC2Polarity = TIM_ICPOLARITY_RISING;
  sConfig.IC2Selection = TIM_ICSELECTION_DIRECTTI;
  sConfig.IC2Prescaler = TIM_ICPSC_DIV1;
  sConfig.IC2Filter = 0;
  if (HAL_TIM_Encoder_Init(&htim2, &sConfig) != HAL_OK)
  {
    Error_Handler();
  }
  sMasterConfig.MasterOutputTrigger = TIM_TRGO_RESET;
  sMasterConfig.MasterSlaveMode = TIM_MASTERSLAVEMODE_DISABLE;
  if (HAL_TIMEx_MasterConfigSynchronization(&htim2, &sMasterConfig) != HAL_OK)
  {
    Error_Handler();
  }

}

static void MX_TIM3_Init(void)
{

  TIM_Encoder_InitTypeDef sConfig = {0};
  TIM_MasterConfigTypeDef sMasterConfig = {0};

  htim3.Instance = TIM3;
  htim3.Init.Prescaler = 0;
  htim3.Init.CounterMode = TIM_COUNTERMODE_UP;
  htim3.Init.Period = 0xFFFF;
  htim3.Init.ClockDivision = TIM_CLOCKDIVISION_DIV1;
  htim3.Init.AutoReloadPreload = TIM_AUTORELOAD_PRELOAD_DISABLE;
  sConfig.EncoderMode = TIM_ENCODERMODE_TI12;
  sConfig.IC1Polarity = TIM_ICPOLARITY_RISING;
  sConfig.IC1Selection = TIM_ICSELECTION_DIRECTTI;
  sConfig.IC1Prescaler = TIM_ICPSC_DIV1;
  sConfig.IC1Filter = 0;
  sConfig.IC2Polarity = TIM_ICPOLARITY_RISING;
  sConfig.IC2Selection = TIM_ICSELECTION_DIRECTTI;
  sConfig.IC2Prescaler = TIM_ICPSC_DIV1;
  sConfig.IC2Filter = 0;
  if (HAL_TIM_Encoder_Init(&htim3, &sConfig) != HAL_OK)
  {
    Error_Handler();
  }
  sMasterConfig.MasterOutputTrigger = TIM_TRGO_RESET;
  sMasterConfig.MasterSlaveMode = TIM_MASTERSLAVEMODE_DISABLE;
  if (HAL_TIMEx_MasterConfigSynchronization(&htim3, &sMasterConfig) != HAL_OK)
  {
    Error_Handler();
  }

}

static void MX_TIM4_Init(void)
{

  TIM_Encoder_InitTypeDef sConfig = {0};
  TIM_MasterConfigTypeDef sMasterConfig = {0};

  htim4.Instance = TIM4;
  htim4.Init.Prescaler = 0;
  htim4.Init.CounterMode = TIM_COUNTERMODE_UP;
  htim4.Init.Period = 0xFFFF;
  htim4.Init.ClockDivision = TIM_CLOCKDIVISION_DIV1;
  htim4.Init.AutoReloadPreload = TIM_AUTORELOAD_PRELOAD_DISABLE;
  sConfig.EncoderMode = TIM_ENCODERMODE_TI12;
  sConfig.IC1Polarity = TIM_ICPOLARITY_RISING;
  sConfig.IC1Selection = TIM_ICSELECTION_DIRECTTI;
  sConfig.IC1Prescaler = TIM_ICPSC_DIV1;
  sConfig.IC1Filter = 0;
  sConfig.IC2Polarity = TIM_ICPOLARITY_RISING;
  sConfig.IC2Selection = TIM_ICSELECTION_DIRECTTI;
  sConfig.IC2Prescaler = TIM_ICPSC_DIV1;
  sConfig.IC2Filter = 0;
  if (HAL_TIM_Encoder_Init(&htim4, &sConfig) != HAL_OK)
  {
    Error_Handler();
  }
  sMasterConfig.MasterOutputTrigger = TIM_TRGO_RESET;
  sMasterConfig.MasterSlaveMode = TIM_MASTERSLAVEMODE_DISABLE;
  if (HAL_TIMEx_MasterConfigSynchronization(&htim4, &sMasterConfig) != HAL_OK)
  {
    Error_Handler();
  }

}

static void MX_TIM5_Init(void)
{

  TIM_Encoder_InitTypeDef sConfig = {0};
  TIM_MasterConfigTypeDef sMasterConfig = {0};

  htim5.Instance = TIM5;
  htim5.Init.Prescaler = 0;
  htim5.Init.CounterMode = TIM_COUNTERMODE_UP;
  htim5.Init.Period = 0xFFFFFFFF;
  htim5.Init.ClockDivision = TIM_CLOCKDIVISION_DIV1;
  htim5.Init.AutoReloadPreload = TIM_AUTORELOAD_PRELOAD_DISABLE;
  sConfig.EncoderMode = TIM_ENCODERMODE_TI12;
  sConfig.IC1Polarity = TIM_ICPOLARITY_RISING;
  sConfig.IC1Selection = TIM_ICSELECTION_DIRECTTI;
  sConfig.IC1Prescaler = TIM_ICPSC_DIV1;
  sConfig.IC1Filter = 0;
  sConfig.IC2Polarity = TIM_ICPOLARITY_RISING;
  sConfig.IC2Selection = TIM_ICSELECTION_DIRECTTI;
  sConfig.IC2Prescaler = TIM_ICPSC_DIV1;
  sConfig.IC2Filter = 0;
  if (HAL_TIM_Encoder_Init(&htim5, &sConfig) != HAL_OK)
  {
    Error_Handler();
  }
  sMasterConfig.MasterOutputTrigger = TIM_TRGO_RESET;
  sMasterConfig.MasterSlaveMode = TIM_MASTERSLAVEMODE_DISABLE;
  if (HAL_TIMEx_MasterConfigSynchronization(&htim5, &sMasterConfig) != HAL_OK)
  {
    Error_Handler();
  }

}

static void MX_TIM9_Init(void)
{

  TIM_ClockConfigTypeDef sClockSourceConfig = {0};
  TIM_OC_InitTypeDef sConfigOC = {0};

  htim9.Instance = TIM9;
  htim9.Init.Prescaler = 215;
  htim9.Init.CounterMode = TIM_COUNTERMODE_UP;
  htim9.Init.Period = 1000;
  htim9.Init.ClockDivision = TIM_CLOCKDIVISION_DIV1;
  htim9.Init.AutoReloadPreload = TIM_AUTORELOAD_PRELOAD_DISABLE;
  if (HAL_TIM_Base_Init(&htim9) != HAL_OK)
  {
    Error_Handler();
  }
  sClockSourceConfig.ClockSource = TIM_CLOCKSOURCE_INTERNAL;
  if (HAL_TIM_ConfigClockSource(&htim9, &sClockSourceConfig) != HAL_OK)
  {
    Error_Handler();
  }
  if (HAL_TIM_PWM_Init(&htim9) != HAL_OK)
  {
    Error_Handler();
  }
  sConfigOC.OCMode = TIM_OCMODE_PWM1;
  sConfigOC.Pulse = 0;
  sConfigOC.OCPolarity = TIM_OCPOLARITY_LOW;
  sConfigOC.OCFastMode = TIM_OCFAST_DISABLE;
  if (HAL_TIM_PWM_ConfigChannel(&htim9, &sConfigOC, TIM_CHANNEL_1) != HAL_OK)
  {
    Error_Handler();
  }
  HAL_TIM_MspPostInit(&htim9);

}

static void MX_TIM10_Init(void)
{

  htim10.Instance = TIM10;
  htim10.Init.Prescaler = 215;
  htim10.Init.CounterMode = TIM_COUNTERMODE_UP;
  htim10.Init.Period = 0xffff;
  htim10.Init.ClockDivision = TIM_CLOCKDIVISION_DIV1;
  htim10.Init.AutoReloadPreload = TIM_AUTORELOAD_PRELOAD_DISABLE;
  if (HAL_TIM_Base_Init(&htim10) != HAL_OK)
  {
    Error_Handler();
  }

}

static void MX_USART1_UART_Init(void)
{

  huart1.Instance = USART1;
  huart1.Init.BaudRate = 115200;
  huart1.Init.WordLength = UART_WORDLENGTH_8B;
  huart1.Init.StopBits = UART_STOPBITS_1;
  huart1.Init.Parity = UART_PARITY_NONE;
  huart1.Init.Mode = UART_MODE_TX_RX;
  huart1.Init.HwFlowCtl = UART_HWCONTROL_NONE;
  huart1.Init.OverSampling = UART_OVERSAMPLING_16;
  huart1.Init.OneBitSampling = UART_ONE_BIT_SAMPLE_DISABLE;
  huart1.AdvancedInit.AdvFeatureInit = UART_ADVFEATURE_NO_INIT;
  if (HAL_UART_Init(&huart1) != HAL_OK)
  {
    Error_Handler();
  }

}

static void MX_DMA_Init(void)
{
  /* DMA controller clock enable */
  __HAL_RCC_DMA2_CLK_ENABLE();

  /* DMA interrupt init */
  /* DMA2_Stream0_IRQn interrupt configuration */
  HAL_NVIC_SetPriority(DMA2_Stream0_IRQn, 0, 0);
  HAL_NVIC_EnableIRQ(DMA2_Stream0_IRQn);
  /* DMA2_Stream2_IRQn interrupt configuration */
  HAL_NVIC_SetPriority(DMA2_Stream2_IRQn, 0, 0);
  HAL_NVIC_EnableIRQ(DMA2_Stream2_IRQn);
  /* DMA2_Stream7_IRQn interrupt configuration */
  HAL_NVIC_SetPriority(DMA2_Stream7_IRQn, 0, 0);
  HAL_NVIC_EnableIRQ(DMA2_Stream7_IRQn);

}

static void MX_GPIO_Init(void)
{
  GPIO_InitTypeDef GPIO_InitStruct = {0};

  /* GPIO Ports Clock Enable */
  __HAL_RCC_GPIOE_CLK_ENABLE();
  __HAL_RCC_GPIOC_CLK_ENABLE();
  __HAL_RCC_GPIOA_CLK_ENABLE();
  __HAL_RCC_GPIOB_CLK_ENABLE();
  __HAL_RCC_GPIOD_CLK_ENABLE();

  /*Configure GPIO pin Output Level */
  HAL_GPIO_WritePin(GPIOE, LED2_Pin|LEFT_DIR1_Pin|LEFT_DIR2_Pin, GPIO_PIN_RESET);

  /*Configure GPIO pin Output Level */
  HAL_GPIO_WritePin(GPIOC, IR_LED_DR_Pin|IR_LED_DL_Pin|IR_LED_FR_Pin|IR_LED_FL_Pin, GPIO_PIN_RESET);

  /*Configure GPIO pin Output Level */
  HAL_GPIO_WritePin(GPIOB, RIGHT_DIR2_Pin|RIGHT_DIR1_Pin, GPIO_PIN_RESET);

  /*Configure GPIO pin Output Level */
  HAL_GPIO_WritePin(LED1_GPIO_Port, LED1_Pin, GPIO_PIN_RESET);

  /*Configure GPIO pin : LED2_Pin */
  GPIO_InitStruct.Pin = LED2_Pin;
  GPIO_InitStruct.Mode = GPIO_MODE_OUTPUT_OD;
  GPIO_InitStruct.Pull = GPIO_NOPULL;
  GPIO_InitStruct.Speed = GPIO_SPEED_FREQ_LOW;
  HAL_GPIO_Init(LED2_GPIO_Port, &GPIO_InitStruct);

  /*Configure GPIO pins : IR_LED_DR_Pin IR_LED_DL_Pin IR_LED_FR_Pin IR_LED_FL_Pin */
  GPIO_InitStruct.Pin = IR_LED_DR_Pin|IR_LED_DL_Pin|IR_LED_FR_Pin|IR_LED_FL_Pin;
  GPIO_InitStruct.Mode = GPIO_MODE_OUTPUT_PP;
  GPIO_InitStruct.Pull = GPIO_NOPULL;
  GPIO_InitStruct.Speed = GPIO_SPEED_FREQ_LOW;
  HAL_GPIO_Init(GPIOC, &GPIO_InitStruct);

  /*Configure GPIO pins : RIGHT_DIR2_Pin RIGHT_DIR1_Pin */
  GPIO_InitStruct.Pin = RIGHT_DIR2_Pin|RIGHT_DIR1_Pin;
  GPIO_InitStruct.Mode = GPIO_MODE_OUTPUT_PP;
  GPIO_InitStruct.Pull = GPIO_NOPULL;
  GPIO_InitStruct.Speed = GPIO_SPEED_FREQ_LOW;
  HAL_GPIO_Init(GPIOB, &GPIO_InitStruct);

  /*Configure GPIO pins : LEFT_DIR1_Pin LEFT_DIR2_Pin */
  GPIO_InitStruct.Pin = LEFT_DIR1_Pin|LEFT_DIR2_Pin;
  GPIO_InitStruct.Mode = GPIO_MODE_OUTPUT_PP;
  GPIO_InitStruct.Pull = GPIO_NOPULL;
  GPIO_InitStruct.Speed = GPIO_SPEED_FREQ_LOW;
  HAL_GPIO_Init(GPIOE, &GPIO_InitStruct);

  /*Configure GPIO pins : BUTTON2_Pin BUTTON1_Pin BUTTON3_Pin */
  GPIO_InitStruct.Pin = BUTTON2_Pin|BUTTON1_Pin|BUTTON3_Pin;
  GPIO_InitStruct.Mode = GPIO_MODE_INPUT;
  GPIO_InitStruct.Pull = GPIO_PULLUP;
  HAL_GPIO_Init(GPIOD, &GPIO_InitStruct);

  /*Configure GPIO pins : IMU_INT2_Pin IMU_INT1_Pin */
  GPIO_InitStruct.Pin = IMU_INT2_Pin|IMU_INT1_Pin;
  GPIO_InitStruct.Mode = GPIO_MODE_IT_RISING;
  GPIO_InitStruct.Pull = GPIO_NOPULL;
  HAL_GPIO_Init(GPIOD, &GPIO_InitStruct);

  /*Configure GPIO pin : LED1_Pin */
  GPIO_InitStruct.Pin = LED1_Pin;
  GPIO_InitStruct.Mode = GPIO_MODE_OUTPUT_OD;
  GPIO_InitStruct.Pull = GPIO_NOPULL;
  GPIO_InitStruct.Speed = GPIO_SPEED_FREQ_LOW;
  HAL_GPIO_Init(LED1_GPIO_Port, &GPIO_InitStruct);

  /* EXTI interrupt init*/
  HAL_NVIC_SetPriority(EXTI15_10_IRQn, 0, 0);
  HAL_NVIC_EnableIRQ(EXTI15_10_IRQn);

}

void Error_Handler(void)
{
  while(1)
  {
  }
}

/************************ (C) COPYRIGHT STMicroelectronics *****END OF FILE****/
